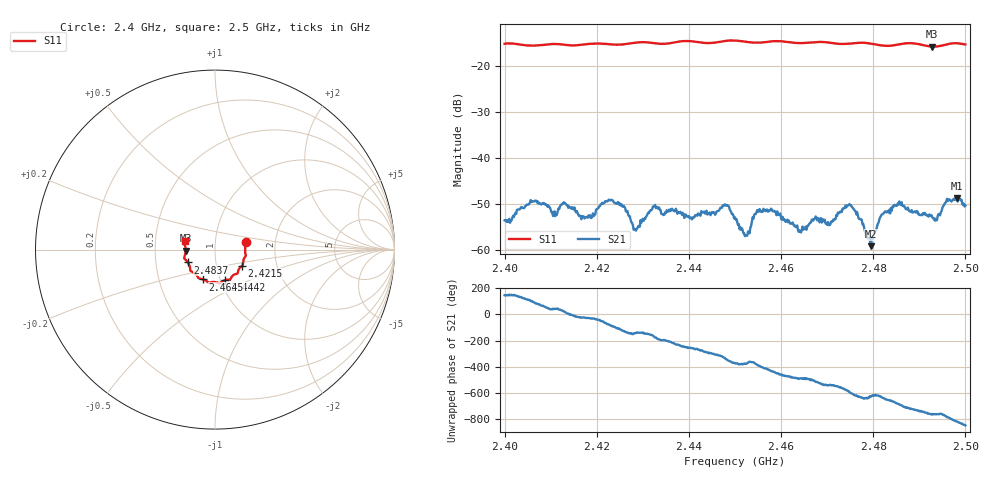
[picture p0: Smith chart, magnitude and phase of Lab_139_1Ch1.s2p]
# Hz S RI R 50
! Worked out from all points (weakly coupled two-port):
!   601 points, 2.4 GHz to 2.5 GHz, reference 50 ohm
!   highest |S21| = -48.74 dB at 2.4982 GHz (marker M1); lowest = -59.2 dB at 2.4795 GHz (marker M2)
!   lowest |S11| = -15.7 dB at 2.4928 GHz (marker M3), VSWR 1.39, Z = 36 - j0.378 ohm
!   |S11| at or under -10 dB: start of sweep to end of sweep
!   S12 and S22 are empty: the file has one direction only
!   S11 on the Smith chart (normalised r, x): 2.4 GHz: 1.41, +0.12; 2.4215 GHz: 1.33, -0.25; 2.4442 GHz: 1.05, -0.37; 2.4645 GHz: 0.83, -0.29; 2.4837 GHz: 0.73, -0.11; 2.5 GHz: 0.71, +0.07
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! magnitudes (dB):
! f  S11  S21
! 2.4 GHz  -15.1  -53.5
! 2.4062 GHz  -15.5  -49.5
! 2.4167 GHz  -15.3  -53.3
! 2.4215 GHz  -15.1  -49.8
! 2.4255 GHz  -15.3  -50.4
! 2.4285 GHz  -14.9  -55.8
! 2.4333 GHz  -15.1  -51.0
! 2.4442 GHz  -15.0  -52.0
! 2.448 GHz  -14.5  -50.4
! 2.45 GHz  -14.4  -52.9
! 2.4523 GHz  -14.7  -56.7
! 2.4565 GHz  -14.8  -51.3
! 2.4645 GHz  -15.0  -55.6
! 2.4667 GHz  -14.8  -53.4
! 2.4705 GHz  -14.9  -54.6
! 2.4748 GHz  -15.1  -50.0
! 2.4795 GHz  -15.1  -59.2
! 2.4833 GHz  -15.6  -51.8
! 2.4837 GHz  -15.5  -52.1
! 2.4928 GHz  -15.7  -52.9
! 2.4982 GHz  -15.0  -48.7
! 2.5 GHz  -15.3  -50.4
